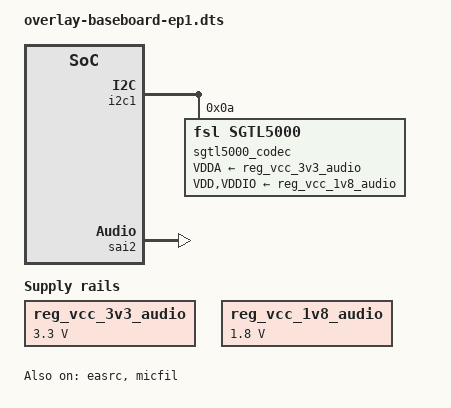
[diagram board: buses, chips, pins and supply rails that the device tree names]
/*
 * Copyright (C) 2022 Avnet Embedded GmbH
 *
 * This program is free software; you can redistribute it and/or
 * modify it under the terms of the GNU General Public License as
 * published by the Free Software Foundation version 2.
 *
 * This program is distributed "as is" WITHOUT ANY WARRANTY of any
 * kind, whether express or implied; without even the implied warranty
 * of MERCHANTABILITY or FITNESS FOR A PARTICULAR PURPOSE.  See the
 * GNU General Public License for more details.
 */

/dts-v1/;
/plugin/;

#include <dt-bindings/clock/imx8mp-clock.h>
#include <dt-bindings/gpio/gpio.h>

/ {
	fragment@1000 {
		target-path = "/";
		__overlay__ {
			reg_vcc_3v3_audio: 3v3_audio_regulator {
				compatible = "regulator-fixed";
				regulator-name = "3V3_AUD";
				regulator-min-microvolt = <3300000>;
				regulator-max-microvolt = <3300000>;
			};
		};
	};

	fragment@1001 {
		target-path = "/";
		__overlay__ {
			reg_vcc_1v8_audio: 1v8_audio_regulator {
				compatible = "regulator-fixed";
				regulator-name = "1V8_AUD";
				regulator-min-microvolt = <1800000>;
				regulator-max-microvolt = <1800000>;
			};
		};
	};

	fragment@1002 {
		target-path = "/";
		__overlay__ {
			sgtl5000_sound: sgtl5000-sound {
				compatible = "fsl,imx-audio-sgtl5000";
				model = "imx-sgtl5000";
				audio-cpu = <&sai2>;
				audio-codec = <&sgtl5000_codec>;
				audio-routing =
						"LINE_IN", "Line In Jack",
						"MIC_IN", "Mic Jack",
						"Mic Jack", "Mic Bias",
						"Headphone Jack", "HP_OUT";
				asrc-controller = <&easrc>;
			};
		};
	};

	fragment@1003 {
		target = <&i2c1>;
		__overlay__ {
			#address-cells = <1>;
			#size-cells = <0>;
			sgtl5000_codec: sgtl5000@a {
				compatible = "fsl,sgtl5000";
				reg = <0x0a>;
				clocks = <&clkout1>;
				clock-names = "audio_mclk";
				VDDA-supply = <&reg_vcc_3v3_audio>;
				VDD-supply = <&reg_vcc_1v8_audio>;
				VDDIO-supply = <&reg_vcc_1v8_audio>;
			};
		};
	};

	fragment@1004 {
		target = <&easrc>;
		__overlay__ {
			fsl,asrc-rate  = <48000>;
			status = "okay";
		};
	};

	fragment@1005 {
		target = <&micfil>;
		__overlay__ {
			status = "okay";
		};
	};

	fragment@1006 {
		target = <&sai2>;
		__overlay__ {
			pinctrl-names = "default";
			pinctrl-0 = <&pinctrl_sai2>;
			assigned-clocks = <&clk IMX8MP_CLK_SAI2>;
			assigned-clock-parents = <&clk IMX8MP_AUDIO_PLL1_OUT>;
			assigned-clock-rates = <12288000>;
			clocks = <&audio_blk_ctrl IMX8MP_CLK_AUDIO_BLK_CTRL_SAI2_IPG>,
				<&clk IMX8MP_CLK_DUMMY>,
				<&audio_blk_ctrl IMX8MP_CLK_AUDIO_BLK_CTRL_SAI2_MCLK1>,
				<&clk IMX8MP_CLK_DUMMY>,
				<&clk IMX8MP_CLK_DUMMY>;
			clock-names = "bus", "mclk0", "mclk1", "mclk2", "mclk3";
			fsl,sai-mclk-direction-output;
			status = "okay";
		};
	};

	fragment@1007 {
		target = <&usdhc2>;
		__overlay__ {
			no-1-8-v;
		};
	};
};
